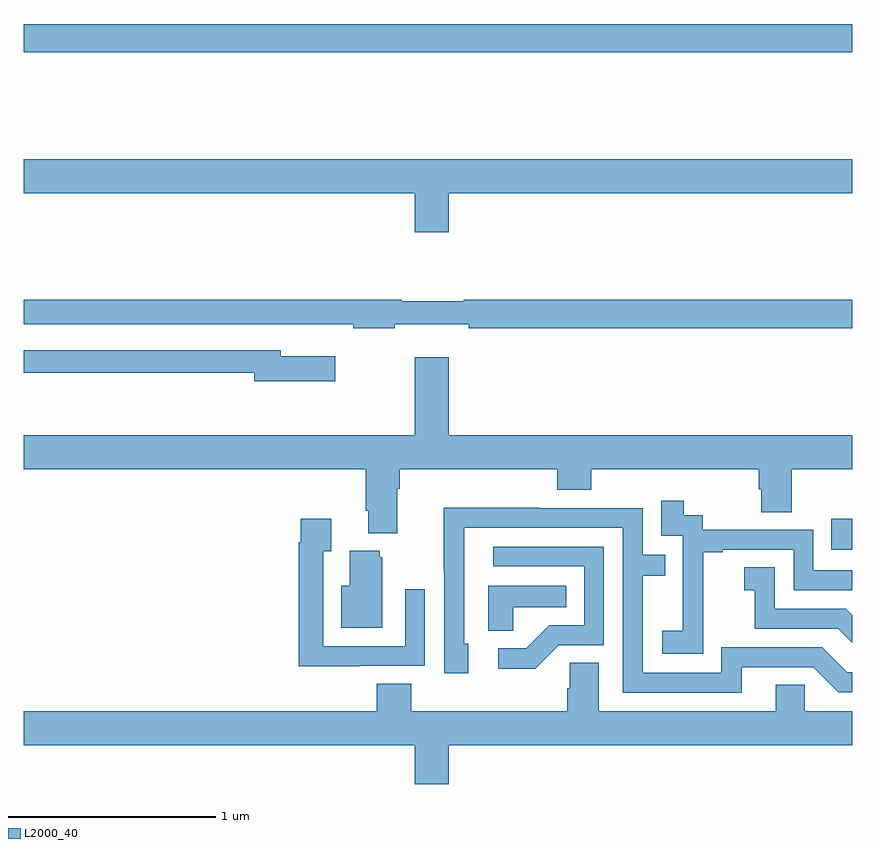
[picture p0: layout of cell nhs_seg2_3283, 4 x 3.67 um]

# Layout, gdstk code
import gdstk
lib = gdstk.Library(unit=1e-6, precision=1e-09)
def R(c, l, rs):  # rectangles x0, y0, x1, y1
    for r in rs: c.add(gdstk.rectangle(r[:2], r[2:], *l))
def P(c, l, *ps):  # polygons
    for p in ps: c.add(gdstk.Polygon(p, *l))
L2000_40 = (2000, 40)

nhs_seg2_3283 = lib.new_cell('nhs_seg2_3283')
R(nhs_seg2_3283, L2000_40, [(286.897,655.239,287,655.387), (283,657.64,287,657.776)])
P(nhs_seg2_3283, L2000_40, [(285.052,656.96),(287,656.96),(287,657.124),(283,657.124),(283,656.96),(284.888,656.96),(284.888,656.772),(285.052,656.772)],
  [(284.792,656.327),(285.148,656.327),(285.148,656.308),(287,656.308),(287,656.444),(285.124,656.444),(285.124,656.437),(284.824,656.437),(284.824,656.444),(283,656.444),(283,656.328),(284.338,656.328),(284.338,656.327),(284.59,656.327),(284.59,656.308),(284.792,656.308)],
  [(284.503,656.173),(284.242,656.173),(284.242,656.202),(283,656.202),(283,656.094),(284.114,656.094),(284.114,656.051),(284.503,656.051)],
  [(284.803,655.532),(284.816,655.532),(284.816,655.628),(285.575,655.628),(285.575,655.529),(285.74,655.529),(285.74,655.628),(286.547,655.628),(286.547,655.53),(286.559,655.53),(286.559,655.42),(286.707,655.42),(286.707,655.628),(287,655.628),(287,655.792),(285.052,655.792),(285.052,656.167),(284.888,656.167),(284.888,655.792),(283,655.792),(283,655.628),(284.651,655.628),(284.651,655.426),(284.663,655.426),(284.663,655.319),(284.803,655.319)],
  [(286.281,654.943),(286.28,654.943),(286.28,655.227),(286.375,655.227),(286.375,655.239),(286.716,655.239),(286.716,655.044),(287,655.044),(287,655.14),(286.812,655.14),(286.812,655.335),(286.278,655.335),(286.278,655.404),(286.186,655.404),(286.186,655.474),(286.077,655.474),(286.077,655.305),(286.182,655.305),(286.182,655.076),(286.181,655.076),(286.181,654.847),(286.083,654.847),(286.083,654.737),(286.281,654.737)],
  [(286.465,654.672),(286.812,654.672),(286.932,654.552),(287,654.552),(287,654.648),(286.974,654.648),(286.854,654.768),(286.368,654.768),(286.368,654.645),(285.987,654.645),(285.987,655.114),(286.097,655.114),(286.097,655.215),(285.987,655.215),(285.987,655.44),(285.491,655.44),(285.491,655.442),(285.028,655.442),(285.028,655.135),(285.03,655.135),(285.03,654.642),(285.145,654.642),(285.145,654.786),(285.126,654.786),(285.126,655.344),(285.891,655.344),(285.891,654.549),(286.465,654.549)],
  [(284.621,654.678),(284.937,654.678),(284.937,655.048),(284.841,655.048),(284.841,654.774),(284.445,654.774),(284.445,655.231),(284.485,655.231),(284.485,655.387),(284.337,655.387),(284.337,655.274),(284.329,655.274),(284.329,654.677),(284.621,654.677)],
  [(285.582,654.777),(285.801,654.777),(285.801,655.254),(285.267,655.254),(285.267,655.158),(285.705,655.158),(285.705,654.873),(285.536,654.873),(285.425,654.762),(285.291,654.762),(285.291,654.665),(285.469,654.665)],
  [(284.731,655.203),(284.72,655.203),(284.72,655.234),(284.573,655.234),(284.573,655.066),(284.534,655.066),(284.534,654.863),(284.731,654.863)],
  [(287,654.922),(286.968,654.954),(286.626,654.954),(286.626,655.153),(286.479,655.153),(286.479,655.043),(286.528,655.043),(286.528,654.858),(286.931,654.858),(287,654.789)],
  [(285.363,654.962),(285.62,654.962),(285.62,655.066),(285.242,655.066),(285.242,654.847),(285.363,654.847)],
  [(285.052,654.296),(287,654.296),(287,654.46),(286.77,654.46),(286.77,654.587),(286.631,654.587),(286.631,654.46),(285.775,654.46),(285.775,654.692),(285.636,654.692),(285.636,654.569),(285.623,654.569),(285.623,654.46),(284.87,654.46),(284.87,654.593),(284.705,654.593),(284.705,654.46),(283,654.46),(283,654.296),(284.888,654.296),(284.888,654.108),(285.052,654.108)])

lib.write_gds('nhs_seg2_3283.gds')
